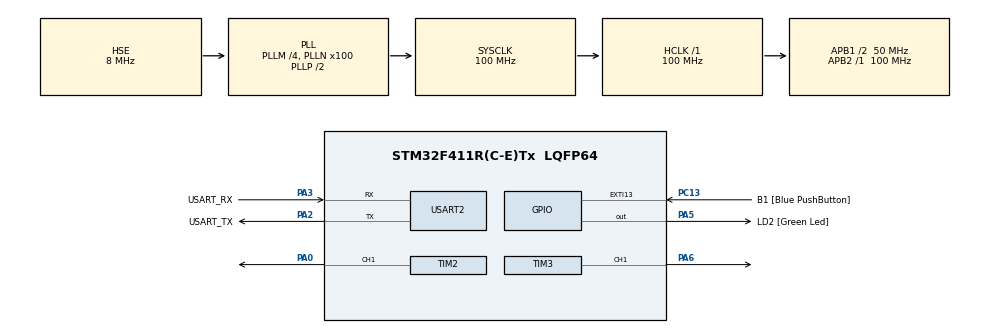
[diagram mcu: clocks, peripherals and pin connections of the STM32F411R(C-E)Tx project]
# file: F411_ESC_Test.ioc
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Dma.Request0=TIM2_CH1
Dma.TIM2_CH1.0.Direction=DMA_MEMORY_TO_PERIPH
Dma.TIM2_CH1.0.FIFOMode=DMA_FIFOMODE_DISABLE
Dma.TIM2_CH1.0.Instance=DMA1_Stream5
Dma.TIM2_CH1.0.MemDataAlignment=DMA_MDATAALIGN_HALFWORD
Dma.TIM2_CH1.0.MemInc=DMA_MINC_ENABLE
Dma.TIM2_CH1.0.Mode=DMA_NORMAL
Dma.TIM2_CH1.0.PeriphDataAlignment=DMA_PDATAALIGN_HALFWORD
Dma.TIM2_CH1.0.PeriphInc=DMA_PINC_DISABLE
Dma.TIM2_CH1.0.Priority=DMA_PRIORITY_LOW
Mcu.Family=STM32F4
Mcu.Name=STM32F411R(C-E)Tx
Mcu.Package=LQFP64
NVIC.DMA1_Stream5_IRQn=true\:0\:0\:false\:false\:true\:false\:true\:true
NVIC.PriorityGroup=NVIC_PRIORITYGROUP_0
PA0-WKUP.Signal=S_TIM2_CH1_ETR
PA13.GPIO_Label=TMS
PA13.Mode=Serial_Wire
PA13.Signal=SYS_JTMS-SWDIO
PA14.GPIO_Label=TCK
PA14.Mode=Serial_Wire
PA14.Signal=SYS_JTCK-SWCLK
PA2.GPIO_Label=USART_TX
PA2.Mode=Asynchronous
PA2.Signal=USART2_TX
PA3.GPIO_Label=USART_RX
PA3.Mode=Asynchronous
PA3.Signal=USART2_RX
PA5.GPIO_Label=LD2 [Green Led]
PA5.Signal=GPIO_Output
PA6.Signal=S_TIM3_CH1
PB3.GPIO_Label=SWO
PB3.Signal=SYS_JTDO-SWO
PC13-ANTI_TAMP.GPIO_Label=B1 [Blue PushButton]
PC13-ANTI_TAMP.GPIO_ModeDefaultEXTI=GPIO_MODE_IT_FALLING
PC13-ANTI_TAMP.Signal=GPXTI13
PC14-OSC32_IN.Mode=LSE-External-Oscillator
PC14-OSC32_IN.Signal=RCC_OSC32_IN
PC15-OSC32_OUT.Mode=LSE-External-Oscillator
PC15-OSC32_OUT.Signal=RCC_OSC32_OUT
PH0\ -\ OSC_IN.Mode=HSE-External-Clock-Source
PH0\ -\ OSC_IN.Signal=RCC_OSC_IN
PH1\ -\ OSC_OUT.Mode=HSE-External-Clock-Source
PH1\ -\ OSC_OUT.Signal=RCC_OSC_OUT
ProjectManager.HeapSize=0x200
ProjectManager.StackSize=0x400
ProjectManager.TargetToolchain=CMake
RCC.48MHZClocksFreq_Value=50000000
RCC.AHBFreq_Value=100000000
RCC.APB1CLKDivider=RCC_HCLK_DIV2
RCC.APB1Freq_Value=50000000
RCC.APB1TimFreq_Value=100000000
RCC.APB2Freq_Value=100000000
RCC.APB2TimFreq_Value=100000000
RCC.CortexFreq_Value=100000000
RCC.FLatency-AdvancedSettings=FLASH_LATENCY_3
RCC.HCLKFreq_Value=100000000
RCC.HSE_VALUE=8000000
RCC.HSI_VALUE=16000000
RCC.PLLM=4
RCC.PLLN=100
RCC.PLLSourceVirtual=RCC_PLLSOURCE_HSE
RCC.SYSCLKFreq_VALUE=100000000
RCC.SYSCLKSource=RCC_SYSCLKSOURCE_PLLCLK
RCC.VCOOutputFreq_Value=200000000
SH.S_TIM2_CH1_ETR.0=TIM2_CH1,PWM Generation1 CH1
SH.S_TIM3_CH1.0=TIM3_CH1,PWM Generation1 CH1
TIM2.Channel-PWM\ Generation1\ CH1=TIM_CHANNEL_1
TIM2.Period=166
TIM3.Channel-PWM\ Generation1\ CH1=TIM_CHANNEL_1
TIM3.Period=19999
TIM3.Prescaler=99
TIM3.Pulse-PWM\ Generation1\ CH1=1500
USART2.VirtualMode=VM_ASYNC
VP_TIM2_VS_ClockSourceINT.Mode=Internal
VP_TIM3_VS_ClockSourceINT.Mode=Internal
board=NUCLEO-F411RE

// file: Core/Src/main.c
/* USER CODE BEGIN Header */
/**
  ******************************************************************************
  * @file           : main.c
  * @brief          : Main program body
  ******************************************************************************
  * @attention
  *
  * Copyright (c) 2026 STMicroelectronics.
  * All rights reserved.
  *
  * This software is licensed under terms that can be found in the LICENSE file
  * in the root directory of this software component.
  * If no LICENSE file comes with this software, it is provided AS-IS.
  *
  ******************************************************************************
  */
/* USER CODE END Header */
#include "main.h"
#include "dma.h"
#include "tim.h"
#include "usart.h"
#include "gpio.h"

/* USER CODE BEGIN Includes */

#include <string.h>
#include <stdint.h>
#include <ctype.h>
#include <stdlib.h>
#include <stdio.h>  /* 添加 stdio.h 用於 sprintf 函數 */

/* USER CODE END Includes */

/* USER CODE BEGIN PTD */

typedef enum
{
  ESC_STATE_DISARMED = 0,
  ESC_STATE_ARMED,
  ESC_STATE_ESTOP
} ESC_State_t;

typedef enum
{
  ESC_MODE_PWM = 0,
  ESC_MODE_DSHOT
} ESC_Mode_t;

typedef enum
{
  DSHOT_RATE_150 = 0,
  DSHOT_RATE_300,
  DSHOT_RATE_600,
  DSHOT_RATE_1200
} DSHOT_Rate_t;

/* DSHOT 特殊命令定義 */
typedef enum {
  DSHOT_CMD_MOTOR_STOP = 0,
  DSHOT_CMD_BEEP1 = 1,
  DSHOT_CMD_BEEP2 = 2,
  DSHOT_CMD_BEEP3 = 3,
  DSHOT_CMD_BEEP4 = 4,
  DSHOT_CMD_BEEP5 = 5,
  DSHOT_CMD_ESC_INFO = 6,
  DSHOT_CMD_SPIN_DIRECTION_1 = 7,
  DSHOT_CMD_SPIN_DIRECTION_2 = 8,
  DSHOT_CMD_3D_MODE_OFF = 9,
  DSHOT_CMD_3D_MODE_ON = 10,
  DSHOT_CMD_SETTINGS_REQUEST = 11,
  DSHOT_CMD_SAVE_SETTINGS = 12,
  // 13-19: Reserved
  DSHOT_CMD_START_BOOTLOADER = 20,
  DSHOT_CMD_ROTATE_NORMAL = 21,
  DSHOT_CMD_LED0_ON = 22,
  DSHOT_CMD_LED1_ON = 23,
  DSHOT_CMD_LED2_ON = 24,
  DSHOT_CMD_LED3_ON = 25,
  DSHOT_CMD_LED0_OFF = 26,
  DSHOT_CMD_LED1_OFF = 27,
  DSHOT_CMD_LED2_OFF = 28,
  DSHOT_CMD_LED3_OFF = 29
  // 30-47: Reserved for future use
} DSHOT_Cmd_t;

/* USER CODE END PTD */

/* USER CODE BEGIN PD */

#define ESC_PULSE_MIN_US            1000U
#define ESC_PULSE_MID_US            1500U
#define ESC_PULSE_MAX_US            2000U
#define ESC_PULSE_ESTOP_US          0U
#define UART_RX_TIMEOUT_MS          0U   /* 改為 0 以實現非阻塞接收，確保 DSHOT 發送流暢 */
#define UART_CMD_BUFFER_SIZE        32U  /* 增加命令緩衝區以支持更長命令 */

/* DSHOT 相關定義 */
#define DSHOT_DMA_BUFFER_SIZE       18   /* 16位數據 + 1位零結尾 + 1位保留 */
#define DSHOT_MIN_THROTTLE          48U  /* 最小油門值 (約 0%) */
#define DSHOT_MAX_THROTTLE          2047U /* 最大油門值 (100%) */
#define DSHOT_TELEMETRY_BIT         1U   /* 開啟遙測位 */

/* USER CODE END PD */

/* USER CODE BEGIN PV */

static volatile uint16_t g_escPulseUs = ESC_PULSE_MIN_US;
static char g_uartCmdBuffer[UART_CMD_BUFFER_SIZE];
static uint8_t g_uartCmdIndex = 0U;
static volatile ESC_State_t g_escState = ESC_STATE_DISARMED;
static volatile ESC_Mode_t g_escMode = ESC_MODE_PWM;  /* 默認為 PWM 模式 */
static volatile uint16_t g_dshotThrottle = 0;         /* 當前 DSHOT 油門值 */
static DSHOT_Rate_t g_dshotRate = DSHOT_RATE_600;  /* 默認為 DSHOT600 */

/* DSHOT DMA 緩衝區 - 用於存放生成的信號時序 */
static uint16_t g_dshotDMABuffer[DSHOT_DMA_BUFFER_SIZE] = {0};
static uint8_t g_dshotConfigured = 0;  /* DSHOT 初始化標記 */

/* DSHOT 動態時序參數 (由 ConfigureTimer 計算) */
static uint16_t g_dshotT0H = 0; /* 0 bit high time (compare value) */
static uint16_t g_dshotT1H = 0; /* 1 bit high time (compare value) */

/* USER CODE END PV */

void SystemClock_Config(void);
/* USER CODE BEGIN PFP */

static void UART_SendString(const char *text);
static uint16_t ESC_ClampPulseUs(uint16_t pulseUs);
static void ESC_ApplyPulseUs(uint16_t pulseUs);
static void ESC_SetPulseUs(uint16_t pulseUs);
static void ESC_SetDutyPercent(uint8_t dutyPercent);
static void ESC_SetState(ESC_State_t state);
static void ESC_EmergencyStop(void);
static void UART_NormalizeCommand(char *cmd);
static void UART_SanitizeCommand(char *cmd);
static uint8_t UART_TryParseUint16(const char *text, uint16_t *outValue);
static void ESC_ProcessCommand(const char *cmd);
static void UART_ProcessInput(void);

/* DSHOT 功能原型 */
static uint8_t DSHOT_SetupTimer(void);
static uint8_t DSHOT_CalcCRC(uint16_t value);
static uint16_t DSHOT_PreparePacket(uint16_t value, uint8_t telemetry);
static void DSHOT_PrepareBuffer(uint16_t packet);
static uint8_t DSHOT_SendCommand(uint16_t value, uint8_t telemetry);
static void DSHOT_ConfigureTimer(DSHOT_Rate_t rate);
static void PWM_ConfigureTimer(void);

/* USER CODE END PFP */

/* USER CODE BEGIN 0 */

static void UART_SendString(const char *text)
{
  HAL_UART_Transmit(&huart2, (uint8_t *)text, (uint16_t)strlen(text), 100U);
}

static uint16_t ESC_ClampPulseUs(uint16_t pulseUs)
{
  if (pulseUs < ESC_PULSE_MIN_US)
  {
    return ESC_PULSE_MIN_US;
  }

  if (pulseUs > ESC_PULSE_MAX_US)
  {
    return ESC_PULSE_MAX_US;
  }

  return pulseUs;
}

static void ESC_ApplyPulseUs(uint16_t pulseUs)
{
  g_escPulseUs = ESC_ClampPulseUs(pulseUs);
  __HAL_TIM_SET_COMPARE(&htim2, TIM_CHANNEL_1, g_escPulseUs);
}

static void ESC_SetPulseUs(uint16_t pulseUs)
{
  ESC_ApplyPulseUs(pulseUs);
}

static void ESC_SetDutyPercent(uint8_t dutyPercent)
{
  uint32_t arr = __HAL_TIM_GET_AUTORELOAD(&htim2);
  uint32_t compare = ((arr + 1UL) * dutyPercent) / 100UL;

  if (compare > arr)
  {
    compare = arr;
  }

  __HAL_TIM_SET_COMPARE(&htim2, TIM_CHANNEL_1, (uint16_t)compare);
}

static void ESC_SetState(ESC_State_t state)
{
  g_escState = state;

  if (state == ESC_STATE_ESTOP)
  {
    if (g_escMode == ESC_MODE_PWM)
    {
      __HAL_TIM_SET_COMPARE(&htim2, TIM_CHANNEL_1, ESC_PULSE_ESTOP_US);
    }
    else
    {
      g_dshotThrottle = DSHOT_CMD_MOTOR_STOP;
    }
    return;
  }

  if (g_escMode == ESC_MODE_PWM)
  {
    ESC_ApplyPulseUs(ESC_PULSE_MIN_US);
  }
  else
  {
    g_dshotThrottle = (state == ESC_STATE_ARMED) ? DSHOT_MIN_THROTTLE : 0;
  }
}

static void ESC_EmergencyStop(void)
{
  ESC_SetState(ESC_STATE_ESTOP);
  UART_SendString("ESTOP: Motor stopped\r\n");
}

static void UART_NormalizeCommand(char *cmd)
{
  uint8_t i = 0U;

  while ((cmd[i] != '\0') && (i < (UART_CMD_BUFFER_SIZE - 1U)))
  {
    cmd[i] = (char)toupper((unsigned char)cmd[i]);
    i++;
  }
}

static void UART_SanitizeCommand(char *cmd)
{
  uint8_t start = 0U;
  uint8_t end = (uint8_t)strlen(cmd);
  uint8_t i = 0U;

  while ((cmd[start] == ' ') || (cmd[start] == '\t'))
  {
    start++;
  }

  while (end > start)
  {
    char tail = cmd[end - 1U];
    if ((tail == ' ') || (tail == '\t') || (tail == ':'))
    {
      end--;
    }
    else
    {
      break;
    }
  }

  while ((start + i) < end)
  {
    cmd[i] = cmd[start + i];
    i++;
  }

  cmd[i] = '\0';
}

static uint8_t UART_TryParseUint16(const char *text, uint16_t *outValue)
{
  char *endPtr = NULL;
  unsigned long parsed = strtoul(text, &endPtr, 10);

  if ((text == endPtr) || (*endPtr != '\0') || (parsed > 65535UL))
  {
    return 0U;
  }

  *outValue = (uint16_t)parsed;
  return 1U;
}

/* DSHOT 核心函數 */
static uint8_t DSHOT_CalcCRC(uint16_t dataWithTelemetry)
{
  /*
   * DSHOT 校驗和計算
   * CRC = (data ^ (data >> 4) ^ (data >> 8)) & 0x0F
   * data 為 12 bits (Throttle 11 bits + Telemetry 1 bit)
   */
  uint8_t crc = 0;
  uint16_t v = dataWithTelemetry;

  for (int i = 0; i < 3; i++)
  {
    crc ^= v & 0x0F;
    v >>= 4;
  }

  return crc;
}

static uint16_t DSHOT_PreparePacket(uint16_t value, uint8_t telemetry)
{
  uint16_t packet;

  /* 限制值範圍 */
  if (value > DSHOT_MAX_THROTTLE)
  {
    value = DSHOT_MAX_THROTTLE;
  }

  if (value < DSHOT_MIN_THROTTLE && value != 0)
  {
    value = DSHOT_MIN_THROTTLE;
  }

  /* 組合 12-bit 數據 (Throttle + Telemetry) */
  uint16_t data = (value << 1) | (telemetry ? 1 : 0);

  /* 生成完整封包: 12-bit 數據 + 4-bit CRC */
  packet = (data << 4) | DSHOT_CalcCRC(data);
  return packet;
}

static void DSHOT_PrepareBuffer(uint16_t packet)
{
  /*
   * 將 16-bit DSHOT 數據包轉換為 DMA 緩衝區
   * 每位根據 0/1 設置為不同的 PWM 佔空比
   */
  const uint16_t bit0 = g_dshotT0H;
  const uint16_t bit1 = g_dshotT1H;

  /* 將 16-bit 包填入 DMA 緩衝區 */
  for (int i = 0; i < 16; i++)
  {
    if (packet & (1 << (15 - i)))
    {
      g_dshotDMABuffer[i] = bit1;
    }
    else
    {
      g_dshotDMABuffer[i] = bit0;
    }
  }

  /* 末尾清零確保最後信號為低電平 */
  g_dshotDMABuffer[16] = 0;
  g_dshotDMABuffer[17] = 0;
}

static uint8_t DSHOT_SetupTimer(void)
{
  /* 初始化 TIM2 和 DMA 用於 DSHOT 通訊 */
  if (!g_dshotConfigured)
  {
    /* 配置 TIM2 用於 DSHOT 協議 */
    DSHOT_ConfigureTimer(g_dshotRate);

    /* 啟動 DMA */
    HAL_TIM_PWM_Stop_DMA(&htim2, TIM_CHANNEL_1);

    g_dshotConfigured = 1;
  }

  return g_dshotConfigured;
}

static void DSHOT_ConfigureTimer(DSHOT_Rate_t rate)
{
  /* 根據 DSHOT 速率配置定時器 */
  uint32_t timerClock = HAL_RCC_GetPCLK1Freq() * 2; /* TIM2 is on APB1 */
  uint32_t targetFreq;
  uint16_t prescaler, period;

  /*
   * DSHOT 頻率設定:
   * DSHOT600 = 600 kbit/s -> 600 kHz PWM
   * DSHOT300 = 300 kbit/s -> 300 kHz PWM
   * DSHOT150 = 150 kbit/s -> 150 kHz PWM
   */
  switch (rate)
  {
    case DSHOT_RATE_150:
      targetFreq = 150000;
      break;
    case DSHOT_RATE_300:
      targetFreq = 300000;
      break;
    case DSHOT_RATE_1200:
      targetFreq = 1200000;
      break;
    case DSHOT_RATE_600:
    default:
      targetFreq = 600000;
      break;
  }

  /* 計算預分頻器和周期 */
  prescaler = 0;
  period = (uint16_t)(timerClock / (targetFreq * (prescaler + 1))) - 1;

  /*
   * 計算 T0H 和 T1H 的 Compare 值
   * T0H: 0 bit high time = 37.5% of period
   * T1H: 1 bit high time = 75.0% of period
   */
  g_dshotT0H = (uint16_t)((uint32_t)(period + 1) * 375 / 1000);
  g_dshotT1H = (uint16_t)((uint32_t)(period + 1) * 750 / 1000);

  /* 更新定時器配置 */
  htim2.Init.Prescaler = prescaler;
  htim2.Init.Period = period;
  HAL_TIM_Base_Init(&htim2);
  HAL_TIM_PWM_Init(&htim2); /* 確保 PWM 模式相關旗標被正確初始化 */

  /* 配置 PWM 輸出通道 */
  TIM_OC_InitTypeDef sConfigOC = {0};
  sConfigOC.OCMode = TIM_OCMODE_PWM1;
  sConfigOC.OCPolarity = TIM_OCPOLARITY_HIGH;
  sConfigOC.OCFastMode = TIM_OCFAST_DISABLE;
  HAL_TIM_PWM_ConfigChannel(&htim2, &sConfigOC, TIM_CHANNEL_1);

  /* 啟用 Preload 以確保 DMA 更新時序正確 */
  __HAL_TIM_ENABLE_OCxPRELOAD(&htim2, TIM_CHANNEL_1);
}

static void PWM_ConfigureTimer(void)
{
  /* 停止 DSHOT 可能正在使用的 DMA */
  HAL_TIM_PWM_Stop_DMA(&htim2, TIM_CHANNEL_1);
  HAL_TIM_PWM_Stop(&htim2, TIM_CHANNEL_1);

  /* 重置計數器，避免切換時 CNT > Period 導致延遲 */
  __HAL_TIM_SET_COUNTER(&htim2, 0);

  /* 配置 TIM2 為 400Hz PWM (PA0) */
  /* Clock = 100MHz (APB1 x2) */
  /* Prescaler = 99 -> 1MHz Counter Clock (1us resolution) */
  /* Period = 2499 -> 2500 ticks = 2.5ms = 400Hz */

  htim2.Init.Prescaler = 99;
  htim2.Init.Period = 2499;
  htim2.Init.CounterMode = TIM_COUNTERMODE_UP;
  htim2.Init.ClockDivision = TIM_CLOCKDIVISION_DIV1;
  htim2.Init.AutoReloadPreload = TIM_AUTORELOAD_PRELOAD_DISABLE;

  if (HAL_TIM_Base_Init(&htim2) != HAL_OK)
  {
    Error_Handler();
  }

  if (HAL_TIM_PWM_Init(&htim2) != HAL_OK)
  {
    Error_Handler();
  }

  TIM_OC_InitTypeDef sConfigOC = {0};
  sConfigOC.OCMode = TIM_OCMODE_PWM1;
  sConfigOC.Pulse = g_escPulseUs;
  sConfigOC.OCPolarity = TIM_OCPOLARITY_HIGH;
  sConfigOC.OCFastMode = TIM_OCFAST_DISABLE;

  if (HAL_TIM_PWM_ConfigChannel(&htim2, &sConfigOC, TIM_CHANNEL_1) != HAL_OK)
  {
    Error_Handler();
  }

  /* 啟動 PWM */
  HAL_TIM_PWM_Start(&htim2, TIM_CHANNEL_1);

  /* 標記 DSHOT 需要重新配置 */
  g_dshotConfigured = 0;
}

static uint8_t DSHOT_SendCommand(uint16_t value, uint8_t telemetry)
{
  /* 檢查並設置 DSHOT 定時器 */
  if (!DSHOT_SetupTimer())
  {
    return 0;
  }

  /* 準備 DSHOT 數據包 */
  uint16_t packet = DSHOT_PreparePacket(value, telemetry);

  /* 將數據包填入 DMA 緩衝區 */
  DSHOT_PrepareBuffer(packet);

  /* 重置計數器以確保從頭開始發送 */
  __HAL_TIM_SET_COUNTER(&htim2, 0);

  /* 使用 DMA 發送 DSHOT 命令 */
  HAL_TIM_PWM_Start_DMA(&htim2, TIM_CHANNEL_1, (uint32_t*)g_dshotDMABuffer, DSHOT_DMA_BUFFER_SIZE);

  return 1;
}

static void ESC_ProcessCommand(const char *cmd)
{
  uint16_t parsedValue = 0U;
  char buffer[32];

    /* 處理模式切換命令 */
  if (strncmp(cmd, "MODE ", 5) == 0)
  {
    if (strcmp(&cmd[5], "PWM") == 0)
    {
      g_escMode = ESC_MODE_PWM;
      if (g_escState != ESC_STATE_ESTOP)
      {
        PWM_ConfigureTimer();

        if (g_escState == ESC_STATE_ARMED)
        {
          ESC_SetPulseUs(g_escPulseUs);
        }
        else
        {
          ESC_SetPulseUs(ESC_PULSE_MIN_US);
        }
      }
      UART_SendString("OK: Mode set to PWM\r\n");
      return;
    }
    else if (strcmp(&cmd[5], "DSHOT") == 0)
    {
      g_escMode = ESC_MODE_DSHOT;
      HAL_TIM_PWM_Stop(&htim2, TIM_CHANNEL_1); /* 停止 PWM */

      if (!DSHOT_SetupTimer())
      {
        UART_SendString("ERR: Failed to setup DSHOT\r\n");
        g_escMode = ESC_MODE_PWM;
        PWM_ConfigureTimer();
        return;
      }
      UART_SendString("OK: Mode set to DSHOT\r\n");

      /* 切換模式時重置油門值 */
      if (g_escState == ESC_STATE_ARMED) g_dshotThrottle = DSHOT_MIN_THROTTLE;
      else g_dshotThrottle = 0;

      return;
    }
    else
    {
      UART_SendString("ERR: Invalid mode, use PWM or DSHOT\r\n");
      return;
    }
  }

  if (strcmp(cmd, "ARM") == 0)
  {
    if (g_escState == ESC_STATE_ESTOP)
    {
      UART_SendString("ERR: in ESTOP, use CLEAR first\r\n");
      return;
    }

    ESC_SetState(ESC_STATE_ARMED);
    UART_SendString("OK: ARMED, ESC ready\r\n");
    return;
  }

  if (strcmp(cmd, "DISARM") == 0)
  {
    ESC_SetState(ESC_STATE_DISARMED);
    UART_SendString("OK: DISARMED, ESC safe\r\n");
    return;
  }

  if ((strcmp(cmd, "CLEAR") == 0) || (strcmp(cmd, "RESET") == 0))
  {
    if (g_escState == ESC_STATE_ESTOP)
    {
      ESC_SetState(ESC_STATE_DISARMED);
      UART_SendString("OK: ESTOP cleared, now DISARMED\r\n");
    }
    else
    {
      UART_SendString("OK: no ESTOP, state unchanged\r\n");
    }
    return;
  }

  if (strcmp(cmd, "STATUS") == 0)
  {
    sprintf(buffer, "STATE: %s, MODE: %s\r\n",
            g_escState == ESC_STATE_ARMED ? "ARMED" :
            g_escState == ESC_STATE_DISARMED ? "DISARMED" : "ESTOP",
            g_escMode == ESC_MODE_PWM ? "PWM" : "DSHOT");
    UART_SendString(buffer);

    if (g_escMode == ESC_MODE_DSHOT)
    {
      sprintf(buffer, "DSHOT: Rate=%d\r\n",
              g_dshotRate == DSHOT_RATE_150 ? 150 :
              g_dshotRate == DSHOT_RATE_300 ? 300 :
              g_dshotRate == DSHOT_RATE_600 ? 600 : 1200);
      UART_SendString(buffer);
    }
    return;
  }

  /* 處理 DSHOT 速率設置命令 */
  if (strncmp(cmd, "DSRATE ", 7) == 0)
  {
    if (g_escMode != ESC_MODE_DSHOT)
    {
      UART_SendString("ERR: Must be in DSHOT mode first\r\n");
      return;
    }

    if (strcmp(&cmd[7], "150") == 0)
    {
      g_dshotRate = DSHOT_RATE_150;
      DSHOT_ConfigureTimer(g_dshotRate);
      UART_SendString("OK: DSHOT rate set to 150\r\n");
      return;
    }
    else if (strcmp(&cmd[7], "300") == 0)
    {
      g_dshotRate = DSHOT_RATE_300;
      DSHOT_ConfigureTimer(g_dshotRate);
      UART_SendString("OK: DSHOT rate set to 300\r\n");
      return;
    }
    else if (strcmp(&cmd[7], "600") == 0)
    {
      g_dshotRate = DSHOT_RATE_600;
      DSHOT_ConfigureTimer(g_dshotRate);
      UART_SendString("OK: DSHOT rate set to 600\r\n");
      return;
    }
    else if (strcmp(&cmd[7], "1200") == 0)
    {
      g_dshotRate = DSHOT_RATE_1200;
      DSHOT_ConfigureTimer(g_dshotRate);
      UART_SendString("OK: DSHOT rate set to 1200\r\n");
      return;
    }
    else
    {
      UART_SendString("ERR: Invalid DSHOT rate, use 150/300/600/1200\r\n");
      return;
    }
  }

  /* 處理 DSHOT 特殊命令 */
  if (strncmp(cmd, "DSCMD ", 6) == 0 && UART_TryParseUint16(&cmd[6], &parsedValue))
  {
    if (g_escMode != ESC_MODE_DSHOT)
    {
      UART_SendString("ERR: Must be in DSHOT mode first\r\n");
      return;
    }

    if (parsedValue > 47)
    {
      UART_SendString("ERR: DSHOT command range is 0-47\r\n");
      return;
    }

    DSHOT_SendCommand(parsedValue, DSHOT_TELEMETRY_BIT);
    sprintf(buffer, "OK: DSHOT special command %d sent\r\n", parsedValue);
    UART_SendString(buffer);
    return;
  }

  /* 處理 DSHOT 油門值 */
  if (strncmp(cmd, "DSHOT ", 6) == 0 && UART_TryParseUint16(&cmd[6], &parsedValue))
  {
    if (g_escMode != ESC_MODE_DSHOT)
    {
      UART_SendString("ERR: Must be in DSHOT mode first\r\n");
      return;
    }

    if (g_escState != ESC_STATE_ARMED)
    {
      UART_SendString("ERR: not ARMED, use ARM first\r\n");
      return;
    }

    if ((parsedValue < DSHOT_MIN_THROTTLE || parsedValue > DSHOT_MAX_THROTTLE) && parsedValue != 0)
    {
      sprintf(buffer, "ERR: DSHOT throttle range %d-%d\r\n", DSHOT_MIN_THROTTLE, DSHOT_MAX_THROTTLE);
      UART_SendString(buffer);
      return;
    }

    g_dshotThrottle = parsedValue;
    sprintf(buffer, "OK: DSHOT throttle set to %d\r\n", parsedValue);
    UART_SendString(buffer);
    return;
  }

  /* 處理 PWM 相關命令 */
  if (g_escMode == ESC_MODE_PWM)
  {
    if ((strncmp(cmd, "PWM ", 4) == 0) && UART_TryParseUint16(&cmd[4], &parsedValue))
    {
      if (g_escState != ESC_STATE_ARMED)
      {
        UART_SendString("ERR: not ARMED, use ARM first\r\n");
        return;
      }

      ESC_SetPulseUs(parsedValue);
      UART_SendString("OK: PWM set by pulse(us)\r\n");
      return;
    }

    if ((strncmp(cmd, "DUTY ", 5) == 0) && UART_TryParseUint16(&cmd[5], &parsedValue))
    {
      if (g_escState != ESC_STATE_ARMED)
      {
        UART_SendString("ERR: not ARMED, use ARM first\r\n");
        return;
      }

      if (parsedValue > 100U)
      {
        UART_SendString("ERR: DUTY range 0..100\r\n");
        return;
      }

      ESC_SetDutyPercent((uint8_t)parsedValue);
      UART_SendString("OK: PWM set by duty(%)\r\n");
      return;
    }

    if ((strcmp(cmd, "1000") == 0) || (strcmp(cmd, "1") == 0))
    {
      if (g_escState != ESC_STATE_ARMED)
      {
        UART_SendString("ERR: not ARMED, use ARM first\r\n");
        return;
      }

      ESC_SetPulseUs(ESC_PULSE_MIN_US);
      UART_SendString("OK: PWM=1000us\r\n");
      return;
    }

    if ((strcmp(cmd, "1500") == 0) || (strcmp(cmd, "5") == 0))
    {
      if (g_escState != ESC_STATE_ARMED)
      {
        UART_SendString("ERR: not ARMED, use ARM first\r\n");
        return;
      }

      ESC_SetPulseUs(ESC_PULSE_MID_US);
      UART_SendString("OK: PWM=1500us\r\n");
      return;
    }

    if ((strcmp(cmd, "2000") == 0) || (strcmp(cmd, "2") == 0))
    {
      if (g_escState != ESC_STATE_ARMED)
      {
        UART_SendString("ERR: not ARMED, use ARM first\r\n");
        return;
      }

      ESC_SetPulseUs(ESC_PULSE_MAX_US);
      UART_SendString("OK: PWM=2000us\r\n");
      return;
    }

    if (UART_TryParseUint16(cmd, &parsedValue))
    {
      if (g_escState != ESC_STATE_ARMED)
      {
        UART_SendString("ERR: not ARMED, use ARM first\r\n");
        return;
      }

      if ((parsedValue < ESC_PULSE_MIN_US) || (parsedValue > ESC_PULSE_MAX_US))
      {
        UART_SendString("ERR: raw number range 1000..2000\r\n");
        return;
      }

      ESC_SetPulseUs(parsedValue);
      UART_SendString("OK: PWM set by raw number\r\n");
      return;
    }
  }

  if ((strcmp(cmd, "STOP") == 0) || (strcmp(cmd, "ESTOP") == 0) ||
      (strcmp(cmd, "S") == 0))
  {
    ESC_EmergencyStop();
    return;
  }

  /* 提供命令幫助信息 */
  UART_SendString("ERR: Unknown command\r\n");
  UART_SendString("Common: ARM/DISARM/STATUS/STOP/CLEAR\r\n");
  UART_SendString("Modes: MODE PWM/MODE DSHOT\r\n");
  if (g_escMode == ESC_MODE_PWM)
  {
    UART_SendString("PWM: PWM <1000..2000>/DUTY <0..100>\r\n");
  }
  else
  {
    UART_SendString("DSHOT: DSHOT <48..2047>/DSCMD <0..47>/DSRATE <150/300/600/1200>\r\n");
  }
}

static void UART_ProcessInput(void)
{
  uint8_t rxChar = 0U;

  if (HAL_UART_Receive(&huart2, &rxChar, 1U, UART_RX_TIMEOUT_MS) != HAL_OK)
  {
    return;
  }

  if ((rxChar == '\r') || (rxChar == '\n') || (rxChar == '/'))
  {
    if (g_uartCmdIndex > 0U)
    {
      g_uartCmdBuffer[g_uartCmdIndex] = '\0';
      UART_NormalizeCommand(g_uartCmdBuffer);
      UART_SanitizeCommand(g_uartCmdBuffer);
      ESC_ProcessCommand(g_uartCmdBuffer);
      g_uartCmdIndex = 0U;
    }
    return;
  }

  if ((rxChar < 32U) || (rxChar > 126U))
  {
    return;
  }

  if (g_uartCmdIndex < (UART_CMD_BUFFER_SIZE - 1U))
  {
    g_uartCmdBuffer[g_uartCmdIndex++] = (char)rxChar;
  }
  else
  {
    g_uartCmdIndex = 0U;
    UART_SendString("ERR: cmd too long\r\n");
  }
}

/* USER CODE END 0 */

int main(void)
{

  /* MCU Configuration--------------------------------------------------------*/

  /* Reset of all peripherals, Initializes the Flash interface and the Systick. */
  HAL_Init();

  /* Configure the system clock */
  SystemClock_Config();

  /* Initialize all configured peripherals */
  MX_GPIO_Init();
  MX_DMA_Init();
  MX_TIM2_Init();
  MX_TIM3_Init();
  MX_USART2_UART_Init();
  /* USER CODE BEGIN 2 */

  /* 預設啟動 PWM 模式 (PA0) */
  PWM_ConfigureTimer();

  ESC_SetState(ESC_STATE_ARMED);
  ESC_SetPulseUs(ESC_PULSE_MID_US);
  UART_SendString("ESC ready: ARMED(1500us) for connection test.\r\n");
  UART_SendString("Ctrl: ARM/DISARM/STATUS, MODE PWM/DSHOT\r\n");
  UART_SendString("PWM: PWM <1000..2000>, DUTY <0..100>\r\n");
  UART_SendString("DSHOT: DSHOT <48..2047>, DSCMD <0..47>\r\n");
  UART_SendString("Tip: use '/' to chain commands\r\n");

  /* USER CODE END 2 */

  /* Infinite loop */
  /* USER CODE BEGIN WHILE */
  uint32_t lastDshotTime = 0;
  while (1)
  {
    /* USER CODE END WHILE */

    /* USER CODE BEGIN 3 */
    UART_ProcessInput();

    /* 在 DSHOT 模式下持續發送封包 (約 1kHz，使用非阻塞方式) */
    if (g_escMode == ESC_MODE_DSHOT)
    {
      if ((HAL_GetTick() - lastDshotTime) >= 1)
      {
        DSHOT_SendCommand(g_dshotThrottle, 0);
        lastDshotTime = HAL_GetTick();
      }
    }
  }
  /* USER CODE END 3 */
}

void SystemClock_Config(void)
{
  RCC_OscInitTypeDef RCC_OscInitStruct = {0};
  RCC_ClkInitTypeDef RCC_ClkInitStruct = {0};

  /** Configure the main internal regulator output voltage
  */
  __HAL_RCC_PWR_CLK_ENABLE();
  __HAL_PWR_VOLTAGESCALING_CONFIG(PWR_REGULATOR_VOLTAGE_SCALE1);

  /** Initializes the RCC Oscillators according to the specified parameters
  * in the RCC_OscInitTypeDef structure.
  */
  RCC_OscInitStruct.OscillatorType = RCC_OSCILLATORTYPE_HSE;
  RCC_OscInitStruct.HSEState = RCC_HSE_BYPASS;
  RCC_OscInitStruct.PLL.PLLState = RCC_PLL_ON;
  RCC_OscInitStruct.PLL.PLLSource = RCC_PLLSOURCE_HSE;
  RCC_OscInitStruct.PLL.PLLM = 4;
  RCC_OscInitStruct.PLL.PLLN = 100;
  RCC_OscInitStruct.PLL.PLLP = RCC_PLLP_DIV2;
  RCC_OscInitStruct.PLL.PLLQ = 4;
  if (HAL_RCC_OscConfig(&RCC_OscInitStruct) != HAL_OK)
  {
    Error_Handler();
  }

  /** Initializes the CPU, AHB and APB buses clocks
  */
  RCC_ClkInitStruct.ClockType = RCC_CLOCKTYPE_HCLK|RCC_CLOCKTYPE_SYSCLK
                              |RCC_CLOCKTYPE_PCLK1|RCC_CLOCKTYPE_PCLK2;
  RCC_ClkInitStruct.SYSCLKSource = RCC_SYSCLKSOURCE_PLLCLK;
  RCC_ClkInitStruct.AHBCLKDivider = RCC_SYSCLK_DIV1;
  RCC_ClkInitStruct.APB1CLKDivider = RCC_HCLK_DIV2;
  RCC_ClkInitStruct.APB2CLKDivider = RCC_HCLK_DIV1;

  if (HAL_RCC_ClockConfig(&RCC_ClkInitStruct, FLASH_LATENCY_3) != HAL_OK)
  {
    Error_Handler();
  }
}

void Error_Handler(void)
{
  __disable_irq();
  while (1)
  {
  }
}
